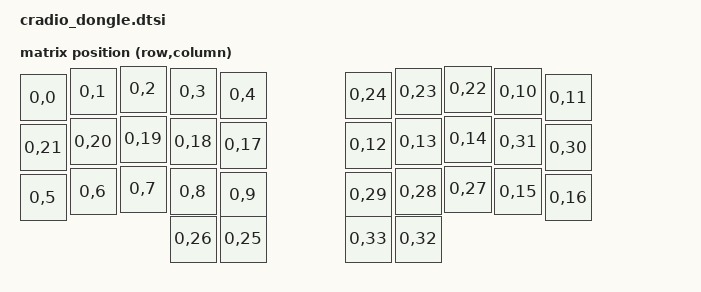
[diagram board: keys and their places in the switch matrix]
#include <dt-bindings/zmk/matrix_transform.h>
#include <physical_layouts.dtsi>

/ {
    chosen {
        zmk,kscan = &kscan0;
        zmk,physical-layout = &physical_layout0;
    };

    default_transform: keymap_transform_0 {
        compatible = "zmk,matrix-transform";
        columns = <34>;
        rows = <1>;
        map = <
            RC(0,0)  RC(0,1)  RC(0,2)  RC(0,3)  RC(0,4)    RC(0,21) RC(0,20) RC(0,19) RC(0,18) RC(0,17)
            RC(0,5)  RC(0,6)  RC(0,7)  RC(0,8)  RC(0,9)    RC(0,26) RC(0,25) RC(0,24) RC(0,23) RC(0,22)
            RC(0,10) RC(0,11) RC(0,12) RC(0,13) RC(0,14)   RC(0,31) RC(0,30) RC(0,29) RC(0,28) RC(0,27)
                                        RC(0,15) RC(0,16)   RC(0,33) RC(0,32)
        >;
    };

    physical_layout0: physical_layout_0 {
        compatible = "zmk,physical-layout";
        display-name = "Default";
        transform = <&default_transform>;
        keys
            = <&key_physical_attrs 100 100   0  17   0   0   0>
            , <&key_physical_attrs 100 100 100   5   0   0   0>
            , <&key_physical_attrs 100 100 200   0   0   0   0>
            , <&key_physical_attrs 100 100 300   5   0   0   0>
            , <&key_physical_attrs 100 100 400  12   0   0   0>
            , <&key_physical_attrs 100 100   0 117   0   0   0>
            , <&key_physical_attrs 100 100 100 105   0   0   0>
            , <&key_physical_attrs 100 100 200 100   0   0   0>
            , <&key_physical_attrs 100 100 300 105   0   0   0>
            , <&key_physical_attrs 100 100 400 112   0   0   0>
            , <&key_physical_attrs 100 100   0 217   0   0   0>
            , <&key_physical_attrs 100 100 100 205   0   0   0>
            , <&key_physical_attrs 100 100 200 200   0   0   0>
            , <&key_physical_attrs 100 100 300 205   0   0   0>
            , <&key_physical_attrs 100 100 400 212   0   0   0>
            , <&key_physical_attrs 100 100 300 300   0   0   0>
            , <&key_physical_attrs 100 100 400 300   0   0   0>
            , <&key_physical_attrs 100 100 650  12   0   0   0>
            , <&key_physical_attrs 100 100 750   5   0   0   0>
            , <&key_physical_attrs 100 100 850   0   0   0   0>
            , <&key_physical_attrs 100 100 950   5   0   0   0>
            , <&key_physical_attrs 100 100 1050 17   0   0   0>
            , <&key_physical_attrs 100 100 650 112   0   0   0>
            , <&key_physical_attrs 100 100 750 105   0   0   0>
            , <&key_physical_attrs 100 100 850 100   0   0   0>
            , <&key_physical_attrs 100 100 950 105   0   0   0>
            , <&key_physical_attrs 100 100 1050 117  0   0   0>
            , <&key_physical_attrs 100 100 650 212   0   0   0>
            , <&key_physical_attrs 100 100 750 205   0   0   0>
            , <&key_physical_attrs 100 100 850 200   0   0   0>
            , <&key_physical_attrs 100 100 950 205   0   0   0>
            , <&key_physical_attrs 100 100 1050 217  0   0   0>
            , <&key_physical_attrs 100 100 650 300   0   0   0>
            , <&key_physical_attrs 100 100 750 300   0   0   0>
            ;
    };

    kscan0: kscan {
        compatible = "zmk,kscan-gpio-direct";
        wakeup-source;
    };
};
